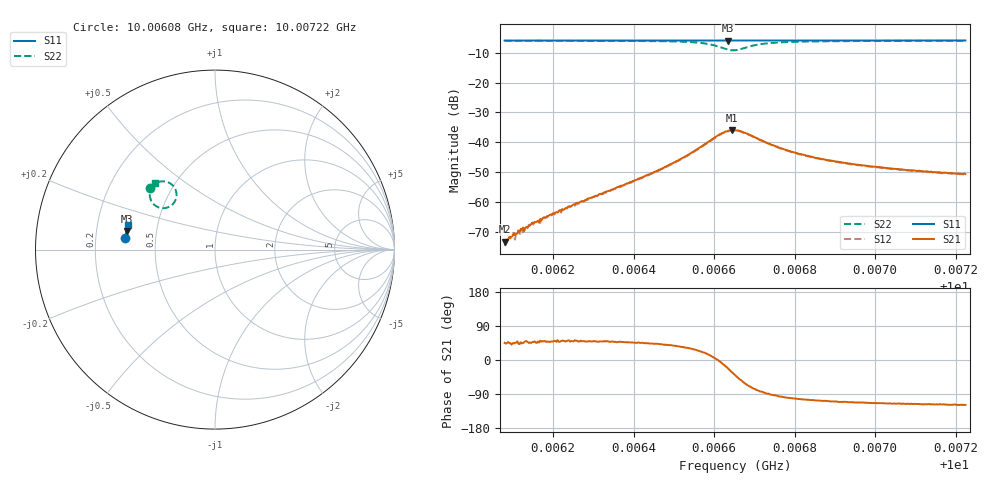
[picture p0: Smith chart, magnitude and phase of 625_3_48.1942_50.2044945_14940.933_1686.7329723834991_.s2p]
#  HZ  S  RI  R  50.00
! Rohde & Schwarz Vector Network Analyzer
! Rohde-Schwarz,ZNB20-2Port,1311601062101988,3.16
! Created: UTC 3/20/2024, 12:04:05 PM
! freq[Hz]  re:S11  im:S11  re:S21  im:S21  re:S12  im:S12  re:S22  im:S22
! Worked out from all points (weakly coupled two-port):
!   401 points, 10.00608 GHz to 10.00722 GHz, reference 50 ohm
!   highest |S21| = -35.88 dB at 10.00664 GHz (marker M1); lowest = -73.2 dB at 10.00608 GHz (marker M2)
!   lowest |S11| = -6.0 dB at 10.00663 GHz (marker M3), VSWR 3.02, Z = 16.7 + j4.51 ohm
!   |S11| at or under -10 dB: nowhere
!   |S22| runs from -9.2 to -6.0 dB; largest |S21 - S12| = 0.0011
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1.0006079e10  -0.4991 0.0655  0.000155 0.000156  0.000137 0.000123  -0.3639 0.341
1.0006094e10  -0.4988 0.0664  0.000179 0.000173  0.000183 0.000205  -0.3631 0.342
1.0006102e10  -0.4988 0.067  0.000221 0.00021  0.000194 0.00019  -0.3625 0.3427
1.0006114e10  -0.4986 0.0677  0.000239 0.000226  0.000211 0.000266  -0.3618 0.3434
1.0006122e10  -0.4986 0.0683  0.000247 0.000239  0.000208 0.000261  -0.3611 0.3441
1.0006134e10  -0.4986 0.069  0.00025 0.000291  0.000239 0.000305  -0.3604 0.3446
1.0006154e10  -0.4984 0.0704  0.000306 0.00035  0.000296 0.000363  -0.359 0.3463
1.0006271e10  -0.4975 0.0781  0.00068 0.000794  0.000599 0.000836  -0.3499 0.3553
1.0006463e10  -0.4956 0.0906  0.00258 0.00235  0.0024 0.00238  -0.3197 0.3746
1.0006529e10  -0.4947 0.0949  0.00492 0.00315  0.00465 0.00331  -0.2931 0.3802
1.0006577e10  -0.4939 0.098  0.00892 0.00299  0.0085 0.00339  -0.254 0.3715
1.0006614e10  -0.4927 0.1002  0.0137 -0.0011  0.0133 -0.000139  -0.217 0.3261
1.0006634e10  -0.4923 0.101  0.0144 -0.00599  0.0143 -0.00496  -0.219 0.2787
1.0006643e10  -0.4924 0.1011  0.0137 -0.00837  0.0139 -0.00724  -0.2303 0.259
1.0006652e10  -0.4923 0.1016  0.0123 -0.0102  0.0127 -0.00934  -0.2468 0.2435
1.0006677e10  -0.4925 0.1029  0.00657 -0.0128  0.00738 -0.0121  -0.3047 0.2326
1.0006717e10  -0.4927 0.1056  0.00124 -0.0107  0.00163 -0.0105  -0.3517 0.2654
1.000678e10  -0.4922 0.1099  -0.00121 -0.00732  -0.000783 -0.00724  -0.3634 0.3064
1.0006843e10  -0.4915 0.114  -0.00154 -0.00551  -0.00129 -0.00548  -0.3602 0.3276
1.0006943e10  -0.4903 0.1204  -0.00161 -0.00404  -0.00139 -0.00402  -0.3526 0.346
1.0007035e10  -0.489 0.1263  -0.00151 -0.00334  -0.00134 -0.00337  -0.3461 0.3565
1.0007224e10  -0.4862 0.1383  -0.00141 -0.0026  -0.00126 -0.00263  -0.3342 0.3716
